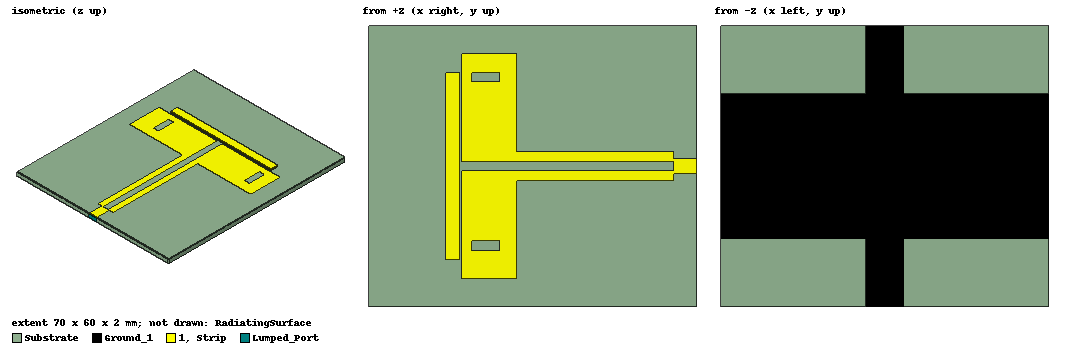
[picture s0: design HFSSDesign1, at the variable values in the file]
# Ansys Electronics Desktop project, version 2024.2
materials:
  vacuum: permittivity=1
  FR4_epoxy: permittivity=4.4 dielectric_loss_tangent=0.02
  PET: permittivity=3.6 dielectric_loss_tangent=0.002

design HFSSDesign1 (HFSS, HFSS Terminal Network, model units mm)
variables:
  L = 40mm
  Ls = 70mm
  Ws = 60mm
  Hs = 1.6mm
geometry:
  Substrate [PET] = box(corner=(0mm, 0mm, 0mm), size=(Ls, Ws, Hs))
  Ground_1 = rectangle(corner=(70mm, 14.5mm, 0mm), x_size=-70mm, y_size=31mm)
  Ground_2 = rectangle(corner=(31mm, 0mm, 0mm), x_size=8mm, y_size=60mm)
  Ground_1.unite(Ground_2)
  1 = rectangle(corner=(70mm, 28.5mm, Hs), x_size=-5mm, y_size=3mm)
  2 = rectangle(corner=(65mm, (30+1) mm, 1.6mm), x_size=-33.5mm, y_size=2mm)
  3 = rectangle(corner=(65mm, (30-1) mm, 1.6mm), x_size=-33.5mm, y_size=-2mm)
  4 = rectangle(corner=(31.5mm, 29mm, 1.6mm), x_size=-11.7mm, y_size=-23mm)
  5 = rectangle(corner=(31.5mm, 31mm, 1.6mm), x_size=-11.7mm, y_size=23mm)
  1.unite(2..5)
  Lumped_Port = rectangle(corner=(70mm, 31.5mm, Hs), y_size=-3mm, z_size=-Hs)
  Strip = rectangle(corner=(19.4mm, 6mm, 1.6mm), x_size=-3mm, y_size=L)
  Strip.move(0.1mm, 4mm, 0.4mm)
  Slot_1 = rectangle(corner=(22mm, 12mm, 1.6mm), x_size=6mm, y_size=2mm)
  Slot_2 = rectangle(corner=(22mm, 48mm, 1.6mm), x_size=6mm, y_size=2mm)
  1.subtract(Slot_1, Slot_2)
  RadiatingSurface [vacuum] = region(absolute_offset=29.411765mm on all sides)
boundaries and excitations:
  PerfE1: Perfect E Objects=1
  PerfE2: Perfect E Objects=Ground_1
  PerfE3: Perfect E Objects=Strip
  Open1: Radiation Objects=RadiatingSurface
  1: Lumped Port Objects=Lumped_Port LumpedPortType=Modal Modes{Mode1{IntLine{(70, 30, 0) -> (70, 30, 1.6)} CharImp=Zpi}} Impedance=50ohm
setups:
  Setup1: HfssDriven Frequency=3.4GHz MaxDeltaS=0.02 MaximumPasses=12 MinimumPasses=1 MinimumConvergedPasses=1 PercentRefinement=30 BasisOrder=1 PortAccuracy=2 DrivenSolverType="Direct Solver"
    sweep Sweep: 1GHz to 9GHz step 0.02GHz; Type=Discrete
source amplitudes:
  1:1: 1V 0deg
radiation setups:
  3D: Infinite Sphere Theta=0deg..180deg step 2deg Phi=-180deg..180deg step 2deg
  Elevation: Infinite Sphere Theta=-180deg..180deg step 1deg Phi=0deg..90deg step 90deg
  Azimuth: Infinite Sphere Theta=90deg..90deg step 0deg Phi=-180deg..180deg step 1deg
